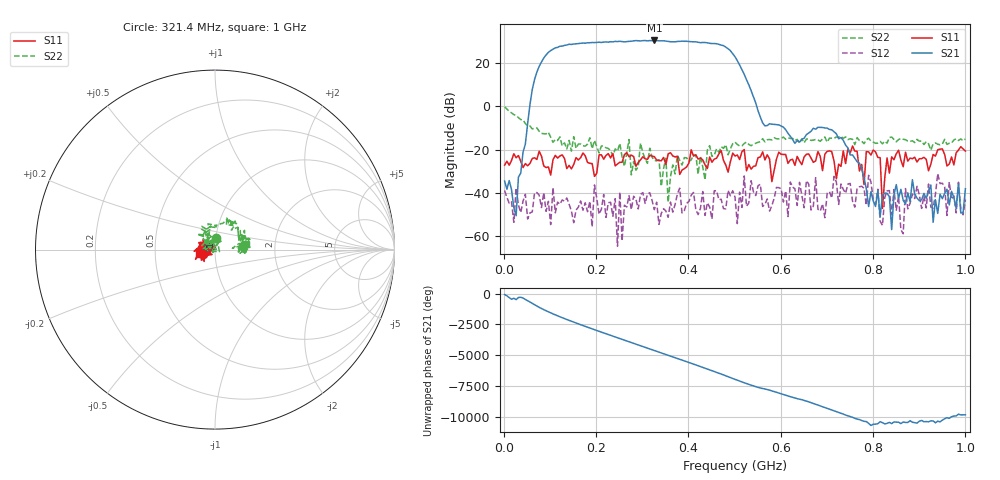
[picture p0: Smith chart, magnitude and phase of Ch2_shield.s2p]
!Keysight Technologies N9923A: A.12.45
!Date: Friday, 10 October 2025 02:29:56
!Timezone: (UTC+08:00) Kuala Lumpur, Singapore
!Model: N9923A
!Serial: MY61181427
!GPS Latitude:
!GPS Longitude:
!GPS TimeStamp: 0001-01-01 00:00:00Z
!GPS Seconds Since Last Read: 0
!CHECKSUM:0222449275
!Correction: S11(ON U?)S21(ON U?)S12(ON U?)S22(ON U?)
!S2P File: Measurements:S11,S21,S12,S22:
# Hz S DB R 50
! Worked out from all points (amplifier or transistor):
!   201 points, 2 MHz to 1 GHz, reference 50 ohm
!   highest |S21| = 30.6 dB at 326.4 MHz (marker M1)
!   |S21| within 3 dB of that: 118.7 MHz to 480.4 MHz (361.7 MHz wide, 121 % of centre)
!   unconditionally stable (mu >= 1): start of sweep to end of sweep
!   at 166.7 MHz: K = 2.69, MAG = 29.4 dB, |S12| = -43.8 dB
!   at 501 MHz: K = 4.37, MAG = 23.2 dB, |S12| = -42.0 dB
!   at 1 GHz: K = 5573.14, MAG = -38.0 dB, |S12| = -43.2 dB
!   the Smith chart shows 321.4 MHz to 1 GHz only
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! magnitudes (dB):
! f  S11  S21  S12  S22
! 2 MHz  -27.2  -34.6  -39.0  -0.1
! 26.95 MHz  -23.8  -50.7  -37.8  -4.3
! 71.86 MHz  -24.6  15.9  -39.9  -10.0
! 171.7 MHz  -21.6  29.4  -48.1  -18.2
! 241.5 MHz  -27.6  30.2  -42.8  -19.6
! 246.5 MHz  -26.7  30.1  -64.8  -20.8
! 251.5 MHz  -25.9  30.2  -39.7  -17.1
! 256.5 MHz  -25.9  30.1  -62.3  -23.5
! 271.5 MHz  -23.3  30.2  -41.3  -15.3
! 326.4 MHz  -23.3  30.6  -47.8  -25.1
! 336.3 MHz  -25.1  30.5  -54.7  -24.7
! 356.3 MHz  -21.9  30.1  -51.4  -44.4
! 376.2 MHz  -23.1  30.2  -40.5  -22.6
! 501 MHz  -23.0  23.1  -42.0  -16.5
! 565.9 MHz  -24.8  -9.0  -45.4  -16.4
! 670.7 MHz  -25.9  -10.1  -46.2  -15.6
! 800.4 MHz  -20.2  -43.8  -43.3  -16.5
! 820.4 MHz  -47.3  -41.0  -55.2  -17.3
! 835.3 MHz  -30.9  -41.8  -39.0  -14.4
! 865.3 MHz  -27.9  -43.5  -59.0  -15.2
! 870.3 MHz  -21.3  -45.2  -38.1  -15.4
! 1 GHz  -20.7  -38.1  -43.2  -15.0
